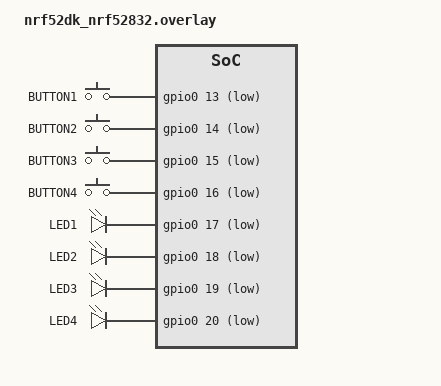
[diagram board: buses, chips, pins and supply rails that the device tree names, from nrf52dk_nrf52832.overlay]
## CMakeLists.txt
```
cmake_minimum_required(VERSION 3.16.0)
find_package(Zephyr REQUIRED HINTS $ENV{ZEPHYR_BASE})
project(gpio_polling)
target_sources(app PRIVATE src/main.c)
```

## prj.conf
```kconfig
# Configuring the LOG module with RTT and disabling the UART BACKEND
CONFIG_LOG=y
CONFIG_LOG_BACKEND_UART=n
CONFIG_LOG_BACKEND_RTT=y
```

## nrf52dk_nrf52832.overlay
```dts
// For more help, browse the DeviceTree documentation at https://docs.zephyrproject.org/latest/guides/dts/index.html
// You can also visit the nRF DeviceTree extension documentation at https://nrfconnect.github.io/vscode-nrf-connect/devicetree/nrfdevicetree.html
/{
    inputs{
        compatible = "gpio-keys";
        btn1:btn1{
            gpios = < &gpio0 13 GPIO_ACTIVE_LOW >;
            label = "BUTTON1";
        };  

        btn2:btn2{
            gpios = < &gpio0 14 GPIO_ACTIVE_LOW >;
            label = "BUTTON2";
        };  

        btn3:btn3{
            gpios = < &gpio0 15 GPIO_ACTIVE_LOW >;
            label = "BUTTON3";
        };  

        btn4:btn4{
            gpios = < &gpio0 16 GPIO_ACTIVE_LOW >;
            label = "BUTTON4";
        };  
    };
    
    outputs{
        compatible = "gpio-leds";
        ld1:ld1{
            gpios = < &gpio0 17 GPIO_ACTIVE_LOW >;
            label = "LED1";
        };

        ld2:ld2{
            gpios = < &gpio0 18 GPIO_ACTIVE_LOW >;
            label = "LED2";
        };

        ld3:ld3{
            gpios = < &gpio0 19 GPIO_ACTIVE_LOW >;
            label = "LED3";
        };

        ld4:ld4{
            gpios = < &gpio0 20 GPIO_ACTIVE_LOW >;
            label = "LED4";
        };
    };

    aliases{
        
        // User Buttons 
        usrbtn1 = &btn1;
        usrbtn2 = &btn2;
        usrbtn3 = &btn3;
        usrbtn4 = &btn4;

        // User LEDs
        usrled1 = &ld1;
        usrled2 = &ld2;
        usrled3 = &ld3;
        usrled4 = &ld4;
    };
};
```

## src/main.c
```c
#include <stdio.h>

#include <zephyr/kernel.h>
#include <zephyr/logging/log.h>

#include <zephyr/drivers/gpio.h>

#define PCA100_BOARD_LEDS   (4)
#define PCA100_BOARD_BTNS   (4)

// Log module configuration.
LOG_MODULE_REGISTER(gpio_polling_exer, LOG_LEVEL_DBG);

// Array of LEDs.
struct gpio_dt_spec usr_leds[PCA100_BOARD_LEDS] = {
    GPIO_DT_SPEC_GET(DT_ALIAS(usrled1), gpios),
    GPIO_DT_SPEC_GET(DT_ALIAS(usrled2), gpios),
    GPIO_DT_SPEC_GET(DT_ALIAS(usrled3), gpios),
    GPIO_DT_SPEC_GET(DT_ALIAS(usrled4), gpios)
};

// Array of buttons.
struct gpio_dt_spec usr_buttons[PCA100_BOARD_BTNS] = {
    GPIO_DT_SPEC_GET(DT_ALIAS(usrbtn1), gpios),
    GPIO_DT_SPEC_GET(DT_ALIAS(usrbtn2), gpios),
    GPIO_DT_SPEC_GET(DT_ALIAS(usrbtn3), gpios),
    GPIO_DT_SPEC_GET(DT_ALIAS(usrbtn4), gpios),
};


static int leds_init(void)
{
    for(uint8_t i=0; i<PCA100_BOARD_LEDS; i++)
    {
        // Wait for ready.
        if(!device_is_ready( usr_leds[i].port))
        {
            LOG_ERR("Error in the initialization of the LED %d",i+1);
            return 0;
        }

        // Configure as output.
        gpio_pin_configure_dt((const struct gpio_dt_spec *) &usr_leds[i], 
                                (GPIO_OUTPUT | GPIO_ACTIVE_LOW));
    }

    
    return 1;
}

static int buttons_init(void)
{
    for(uint8_t i=0; i<PCA100_BOARD_BTNS; i++)
    {
        // Wait for ready.
        if(!device_is_ready( usr_buttons[i].port))
        {
            LOG_ERR("Error in the initialization of the BUTTON %d",i+1);
            return 0;
        }

        // Configure as input with pull-up resistor.
        gpio_pin_configure_dt( (const struct gpio_dt_spec *) &usr_buttons[i], 
                                (GPIO_INPUT | GPIO_PULL_UP) );
    }
    return 1;
}


int main(void)
{
    //Initalize all LEDs.
    if(!leds_init())
        return 0;

    //Intialize all buttons.
    if(!buttons_init())
        return 0;

    while(1)
    {
        // Uncomment this code to toogle all LED's.        
        // for(uint8_t i=0; i<PCA100_BOARD_LEDS; i++)
        // {
        //     LOG_INF("Toogling the LED %d.",i);
        //     gpio_pin_toggle_dt( (const struct gpio_dt_spec *) &usr_leds[i]);
        //     k_msleep(100);
        // }

        // Uncomment this code to control all LEDs state using buttons.
        // LED1->BTN1 / LED2->BTN2 / LED3->BTN3 / LED4->BTN4.
        for(uint8_t i=0; i<PCA100_BOARD_LEDS; i++)
        {
            gpio_pin_set_dt(&usr_leds[i], gpio_pin_get_dt(&usr_buttons[i]));
        }

    }
    return 1;
}
```
